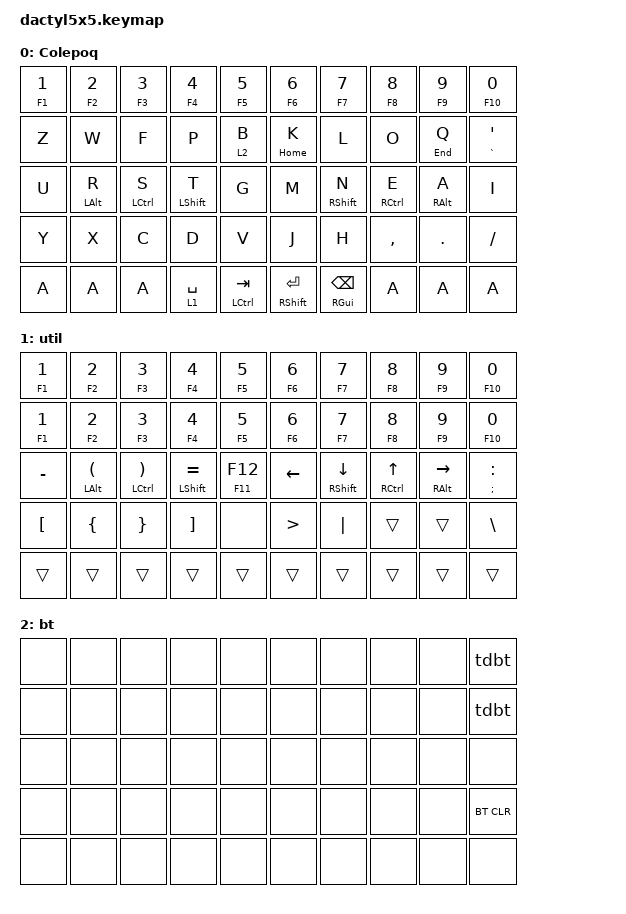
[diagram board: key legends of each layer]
#include <behaviors.dtsi>
#include <dt-bindings/zmk/bt.h>
#include <dt-bindings/zmk/keys.h>

/ {
    behaviors {
        hmr: hmr {
            compatible = "zmk,behavior-hold-tap";
            label = "HMR";
            bindings = <&kp>, <&kp>;

            #binding-cells = <2>;
            tapping-term-ms = <175>;
            quick-tap-ms = <175>;
            flavor = "tap-preferred";
        };

        hmrs: hmrs {
            compatible = "zmk,behavior-hold-tap";
            label = "HMRS";
            bindings = <&kp>, <&kp>;

            #binding-cells = <2>;
            flavor = "tap-preferred";
            tapping-term-ms = <200>;
        };

        tdbt: tdbt {
            compatible = "zmk,behavior-tap-dance";
            label = "TDBT";
            #binding-cells = <0>;
            bindings = <&bt BT_SEL 0>, <&bt BT_SEL 1>;

            tapping-term-ms = <200>;
        };
    };

    combos {
        compatible = "zmk,combos";

        Esc {
            bindings = <&kp ESCAPE>;
            key-positions = <1 2>;
        };

        Delete {
            bindings = <&kp DELETE>;
            key-positions = <27 28>;
        };

        caps {
            bindings = <&caps_word>;
            key-positions = <31 32>;
        };
    };

    keymap {
        compatible = "zmk,keymap";

        Colepoq {
            bindings = <
&hmrs F1 N1  &hmrs F2 N2      &hmr F3 N3       &hmr F4 N4        &hmr F5 N5      &hmr F6 N6  &hmr F7 N7       &hmr F8 N8     &hmrs F9 N9       &hmrs F10 N0           
&kp Z  &kp W             &kp F         &kp P         &lt 2 B           &hmr HOME K       &kp L           &kp O         &hmrs END Q   &hmrs GRAVE SQT
&kp U  &hmrs LEFT_ALT R  &hmr LCTRL S  &hmr LSHFT T  &kp G             &kp M             &hmr RSHFT N    &hmr RCTRL E  &hmrs RALT A  &kp I
&kp Y  &kp X             &kp C         &kp D         &kp V             &kp J             &kp H           &kp COMMA     &kp DOT       &kp SLASH
                     &kp A &kp A &kp A &lt 1 SPACE   &hmr LCTRL TAB    &hmr RSHFT ENTER  &hmr RGUI BSPC &kp A &kp A &kp A 

            >;
        };

        util {
            bindings = <
&hmrs F1 N1  &hmrs F2 N2      &hmr F3 N3       &hmr F4 N4        &hmr F5 N5      &hmr F6 N6  &hmr F7 N7       &hmr F8 N8     &hmrs F9 N9       &hmrs F10 N0 
&hmrs F1 N1  &hmrs F2 N2      &hmr F3 N3       &hmr F4 N4        &hmr F5 N5      &hmr F6 N6  &hmr F7 N7       &hmr F8 N8     &hmrs F9 N9       &hmrs F10 N0
&kp MINUS    &hmrs LALT LPAR  &hmr LCTRL RPAR  &hmr LSHFT EQUAL  &hmr F11 F12    &kp LEFT    &hmr RSHFT DOWN  &hmr RCTRL UP  &hmrs RALT RIGHT  &hmrs SEMI COLON
&kp LBKT     &kp LBRC         &kp RBRC         &kp RBKT          &none           &kp GT      &kp PIPE         &trans         &trans            &kp BSLH
                          &trans &trans &trans &trans            &trans          &trans      &trans &trans &trans &trans
            >;
        };

        bt {
            bindings = <
&none  &none  &none  &none  &none    &none  &none  &none  &none  &tdbt
&none  &none  &none  &none  &none    &none  &none  &none  &none  &tdbt
&none  &none  &none  &none  &none    &none  &none  &none  &none  &none
&none  &none  &none  &none  &none    &none  &none  &none  &none  &bt BT_CLR
&none  &none  &none  &none  &none    &none  &none  &none  &none  &none
            >;
        };
    };
};
